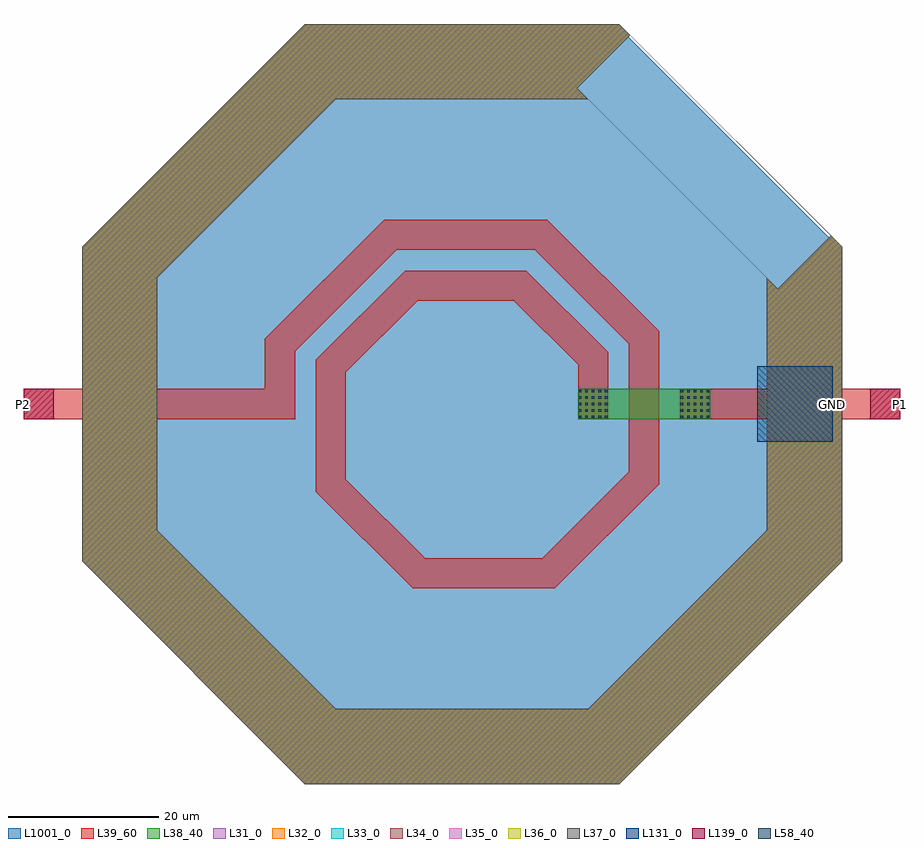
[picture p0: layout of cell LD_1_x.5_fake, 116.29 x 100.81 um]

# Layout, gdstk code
import gdstk
lib = gdstk.Library(unit=1e-6, precision=1e-09)
def R(c, l, rs):  # rectangles x0, y0, x1, y1
    for r in rs: c.add(gdstk.rectangle(r[:2], r[2:], *l))
def A(c, l, x, y, w, h, nx, ny, dx, dy):  # array of equal rectangles
    R(c, l, [(x+i*dx, y+j*dy, x+i*dx+w, y+j*dy+h) for i in range(nx) for j in range(ny)])
def P(c, l, *ps):  # polygons
    for p in ps: c.add(gdstk.Polygon(p, *l))
L31_0 = (31, 0)
L32_0 = (32, 0)
L33_0 = (33, 0)
L34_0 = (34, 0)
L35_0 = (35, 0)
L36_0 = (36, 0)
L37_0 = (37, 0)
L38_40 = (38, 40)
L39_60 = (39, 60)
L58_40 = (58, 40)
L131_0 = (131, 0)
L139_0 = (139, 0)
L1001_0 = (1001, 0)

ld_1_x_5_fake = lib.new_cell('LD_1_x.5_fake')
P(ld_1_x_5_fake, L31_0, [(41.867,15.271),(48.938,22.342),(20.877,50.403),(-20.877,50.403),(-50.403,20.877),(-50.403,-20.877),(-20.877,-50.403),(20.877,-50.403),(50.403,-20.877),(50.403,20.877),(22.342,48.938),(15.271,41.867),(40.403,16.735),(40.403,-16.735),(16.735,-40.403),(-16.735,-40.403),(-40.403,-16.735),(-40.403,16.735),(-16.735,40.403),(16.735,40.403)])
P(ld_1_x_5_fake, L32_0, [(41.867,15.271),(48.938,22.342),(20.877,50.403),(-20.877,50.403),(-50.403,20.877),(-50.403,-20.877),(-20.877,-50.403),(20.877,-50.403),(50.403,-20.877),(50.403,20.877),(22.342,48.938),(15.271,41.867),(40.403,16.735),(40.403,-16.735),(16.735,-40.403),(-16.735,-40.403),(-40.403,-16.735),(-40.403,16.735),(-16.735,40.403),(16.735,40.403)])
P(ld_1_x_5_fake, L33_0, [(41.867,15.271),(48.938,22.342),(20.877,50.403),(-20.877,50.403),(-50.403,20.877),(-50.403,-20.877),(-20.877,-50.403),(20.877,-50.403),(50.403,-20.877),(50.403,20.877),(22.342,48.938),(15.271,41.867),(40.403,16.735),(40.403,-16.735),(16.735,-40.403),(-16.735,-40.403),(-40.403,-16.735),(-40.403,16.735),(-16.735,40.403),(16.735,40.403)])
P(ld_1_x_5_fake, L34_0, [(41.867,15.271),(48.938,22.342),(20.877,50.403),(-20.877,50.403),(-50.403,20.877),(-50.403,-20.877),(-20.877,-50.403),(20.877,-50.403),(50.403,-20.877),(50.403,20.877),(22.342,48.938),(15.271,41.867),(40.403,16.735),(40.403,-16.735),(16.735,-40.403),(-16.735,-40.403),(-40.403,-16.735),(-40.403,16.735),(-16.735,40.403),(16.735,40.403)])
P(ld_1_x_5_fake, L35_0, [(41.867,15.271),(48.938,22.342),(20.877,50.403),(-20.877,50.403),(-50.403,20.877),(-50.403,-20.877),(-20.877,-50.403),(20.877,-50.403),(50.403,-20.877),(50.403,20.877),(22.342,48.938),(15.271,41.867),(40.403,16.735),(40.403,-16.735),(16.735,-40.403),(-16.735,-40.403),(-40.403,-16.735),(-40.403,16.735),(-16.735,40.403),(16.735,40.403)])
P(ld_1_x_5_fake, L36_0, [(41.867,15.271),(48.938,22.342),(20.877,50.403),(-20.877,50.403),(-50.403,20.877),(-50.403,-20.877),(-20.877,-50.403),(20.877,-50.403),(50.403,-20.877),(50.403,20.877),(22.342,48.938),(15.271,41.867),(40.403,16.735),(40.403,-16.735),(16.735,-40.403),(-16.735,-40.403),(-40.403,-16.735),(-40.403,16.735),(-16.735,40.403),(16.735,40.403)])
P(ld_1_x_5_fake, L37_0, [(41.867,15.271),(48.938,22.342),(20.877,50.403),(-20.877,50.403),(-50.403,20.877),(-50.403,-20.877),(-20.877,-50.403),(20.877,-50.403),(50.403,-20.877),(50.403,20.877),(22.342,48.938),(15.271,41.867),(40.403,16.735),(40.403,-16.735),(16.735,-40.403),(-16.735,-40.403),(-40.403,-16.735),(-40.403,16.735),(-16.735,40.403),(16.735,40.403)])
R(ld_1_x_5_fake, L38_40, [(15.395,-2,32.895,2)])
P(ld_1_x_5_fake, L38_40, [(41.867,15.271),(48.938,22.342),(20.877,50.403),(-20.877,50.403),(-50.403,20.877),(-50.403,-20.877),(-20.877,-50.403),(20.877,-50.403),(50.403,-20.877),(50.403,20.877),(22.342,48.938),(15.271,41.867),(40.403,16.735),(40.403,-16.735),(16.735,-40.403),(-16.735,-40.403),(-40.403,-16.735),(-40.403,16.735),(-16.735,40.403),(16.735,40.403)])
R(ld_1_x_5_fake, L39_60, [(-58.145,-2,-22.145,2), (28.895,-2,58.145,2)])
P(ld_1_x_5_fake, L39_60, [(15.395,-2),(19.395,-2),(19.395,6.838),(8.528,17.705),(-7.538,17.705),(-19.395,5.854),(-19.395,-11.614),(-6.548,-24.455),(12.313,-24.455),(26.145,-10.623),(26.145,9.633),(11.323,24.455),(-10.333,24.455),(-26.145,8.649),(-26.145,0),(-22.145,0),(-22.145,6.991),(-8.677,20.455),(9.667,20.455),(22.145,7.977),(22.145,-8.967),(10.657,-20.455),(-4.892,-20.455),(-15.395,-9.956),(-15.395,4.196),(-5.882,13.705),(6.872,13.705),(15.395,5.182)],
  [(41.867,15.271),(48.938,22.342),(20.877,50.403),(-20.877,50.403),(-50.403,20.877),(-50.403,-20.877),(-20.877,-50.403),(20.877,-50.403),(50.403,-20.877),(50.403,20.877),(22.342,48.938),(15.271,41.867),(40.403,16.735),(40.403,-16.735),(16.735,-40.403),(-16.735,-40.403),(-40.403,-16.735),(-40.403,16.735),(-16.735,40.403),(16.735,40.403)])
A(ld_1_x_5_fake, L58_40, 15.478, -1.915, 0.35, 0.35, 5, 5, 0.87, 0.87)
A(ld_1_x_5_fake, L58_40, 28.978, -1.915, 0.35, 0.35, 5, 5, 0.87, 0.87)
R(ld_1_x_5_fake, L131_0, [(39.145,-5,49.145,5)])
R(ld_1_x_5_fake, L139_0, [(-58.145,-2,-54.145,2), (54.145,-2,58.145,2)])
P(ld_1_x_5_fake, L1001_0, [(50.022,20.72),(20.72,50.022),(-20.72,50.022),(-50.022,20.72),(-50.022,-20.72),(-20.72,-50.022),(20.72,-50.022),(50.022,-20.72)],
  [(50.022,20.72),(20.72,50.022),(-20.72,50.022),(-50.022,20.72),(-50.022,-20.72),(-20.72,-50.022),(20.72,-50.022),(50.022,-20.72)],
  [(50.022,20.72),(20.72,50.022),(-20.72,50.022),(-50.022,20.72),(-50.022,-20.72),(-20.72,-50.022),(20.72,-50.022),(50.022,-20.72)],
  [(50.022,20.72),(20.72,50.022),(-20.72,50.022),(-50.022,20.72),(-50.022,-20.72),(-20.72,-50.022),(20.72,-50.022),(50.022,-20.72)],
  [(50.022,20.72),(20.72,50.022),(-20.72,50.022),(-50.022,20.72),(-50.022,-20.72),(-20.72,-50.022),(20.72,-50.022),(50.022,-20.72)],
  [(50.022,20.72),(20.72,50.022),(-20.72,50.022),(-50.022,20.72),(-50.022,-20.72),(-20.72,-50.022),(20.72,-50.022),(50.022,-20.72)],
  [(50.022,20.72),(20.72,50.022),(-20.72,50.022),(-50.022,20.72),(-50.022,-20.72),(-20.72,-50.022),(20.72,-50.022),(50.022,-20.72)],
  [(50.022,20.72),(20.72,50.022),(-20.72,50.022),(-50.022,20.72),(-50.022,-20.72),(-20.72,-50.022),(20.72,-50.022),(50.022,-20.72)],
  [(50.022,20.72),(20.72,50.022),(-20.72,50.022),(-50.022,20.72),(-50.022,-20.72),(-20.72,-50.022),(20.72,-50.022),(50.022,-20.72)])
ld_1_x_5_fake.add(gdstk.Label('P1', (58.143,0), layer=139, texttype=0))
ld_1_x_5_fake.add(gdstk.Label('P2', (-58.143,0), layer=139, texttype=0))
ld_1_x_5_fake.add(gdstk.Label('GND', (49.143,0), layer=131, texttype=0))

lib.write_gds('LD_1_x.5_fake.gds')
